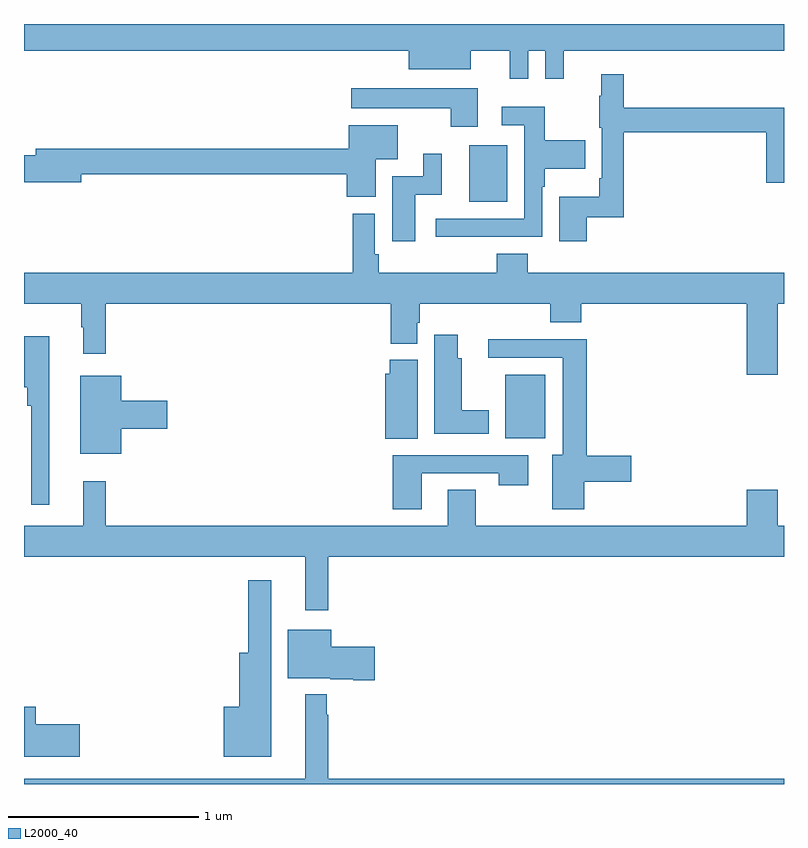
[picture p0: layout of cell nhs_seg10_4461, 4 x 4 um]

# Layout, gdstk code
import gdstk
lib = gdstk.Library(unit=1e-6, precision=1e-09)
def R(c, l, rs):  # rectangles x0, y0, x1, y1
    for r in rs: c.add(gdstk.rectangle(r[:2], r[2:], *l))
def P(c, l, *ps):  # polygons
    for p in ps: c.add(gdstk.Polygon(p, *l))
L2000_40 = (2000, 40)

nhs_seg10_4461 = lib.new_cell('nhs_seg10_4461')
R(nhs_seg10_4461, L2000_40, [(367.532,1254.32,367.744,1254.655), (367.343,1255.565,367.543,1255.861)])
P(nhs_seg10_4461, L2000_40, [(367.653,1256.36),(367.743,1256.36),(367.743,1256.211),(367.841,1256.211),(367.841,1256.36),(369,1256.36),(369,1256.5),(365,1256.5),(365,1256.36),(367.025,1256.36),(367.025,1256.261),(367.351,1256.261),(367.351,1256.36),(367.556,1256.36),(367.556,1256.211),(367.653,1256.211)],
  [(367.961,1255.482),(368.156,1255.482),(368.156,1255.93),(368.906,1255.93),(368.906,1255.665),(369,1255.665),(369,1256.059),(368.156,1256.059),(368.156,1256.236),(368.039,1256.236),(368.039,1256.123),(368.028,1256.123),(368.028,1255.953),(368.04,1255.953),(368.04,1255.687),(368.028,1255.687),(368.028,1255.591),(367.817,1255.591),(367.817,1255.356),(367.961,1255.356)],
  [(367.387,1256.161),(366.723,1256.161),(366.723,1256.057),(367.247,1256.057),(367.247,1255.959),(367.387,1255.959)],
  [(367.403,1255.38),(367.728,1255.38),(367.728,1255.643),(367.741,1255.643),(367.741,1255.739),(367.955,1255.739),(367.955,1255.887),(367.741,1255.887),(367.741,1256.065),(367.515,1256.065),(367.515,1255.968),(367.632,1255.968),(367.632,1255.476),(367.167,1255.476),(367.167,1255.379),(367.403,1255.379)],
  [(366.85,1255.787),(366.967,1255.787),(366.967,1255.966),(366.71,1255.966),(366.71,1255.844),(365.063,1255.844),(365.063,1255.808),(365,1255.808),(365,1255.666),(365.302,1255.666),(365.302,1255.708),(366.698,1255.708),(366.698,1255.59),(366.85,1255.59)],
  [(367.06,1255.602),(367.198,1255.602),(367.198,1255.816),(367.1,1255.816),(367.1,1255.698),(366.938,1255.698),(366.938,1255.356),(367.06,1255.356)],
  [(368.968,1255.028),(369,1255.028),(369,1255.192),(367.652,1255.192),(367.652,1255.291),(367.487,1255.291),(367.487,1255.192),(366.866,1255.192),(366.866,1255.288),(366.846,1255.288),(366.846,1255.501),(366.73,1255.501),(366.73,1255.192),(365,1255.192),(365,1255.028),(365.301,1255.028),(365.301,1254.905),(365.312,1254.905),(365.312,1254.765),(365.429,1254.765),(365.429,1255.028),(366.929,1255.028),(366.929,1254.817),(367.069,1254.817),(367.069,1254.927),(367.082,1254.927),(367.082,1255.028),(367.769,1255.028),(367.769,1254.929),(367.934,1254.929),(367.934,1255.028),(368.804,1255.028),(368.804,1254.654),(368.968,1254.654)],
  [(367.447,1254.466),(367.303,1254.466),(367.303,1254.741),(367.282,1254.741),(367.282,1254.865),(367.16,1254.865),(367.16,1254.344),(367.447,1254.344)],
  [(365.134,1254.856),(365,1254.856),(365,1254.587),(365.017,1254.587),(365.017,1254.491),(365.037,1254.491),(365.037,1253.97),(365.134,1253.97)],
  [(367.948,1254.092),(368.197,1254.092),(368.197,1254.227),(367.961,1254.227),(367.961,1254.842),(367.443,1254.842),(367.443,1254.744),(367.835,1254.744),(367.835,1254.232),(367.781,1254.232),(367.781,1253.946),(367.948,1253.946)],
  [(367.072,1254.732),(366.926,1254.732),(366.926,1254.66),(366.902,1254.66),(366.902,1254.316),(367.072,1254.316)],
  [(365.512,1254.371),(365.755,1254.371),(365.755,1254.518),(365.512,1254.518),(365.512,1254.649),(365.297,1254.649),(365.297,1254.239),(365.512,1254.239)],
  [(367.093,1254.135),(367.498,1254.135),(367.498,1254.072),(367.654,1254.072),(367.654,1254.231),(366.941,1254.231),(366.941,1253.946),(367.093,1253.946)],
  [(366.601,1253.696),(369,1253.696),(369,1253.86),(368.968,1253.86),(368.968,1254.049),(368.804,1254.049),(368.804,1253.86),(367.377,1253.86),(367.377,1254.05),(367.229,1254.05),(367.229,1253.86),(365.429,1253.86),(365.429,1254.094),(365.312,1254.094),(365.312,1253.86),(365,1253.86),(365,1253.696),(366.479,1253.696),(366.479,1253.415),(366.601,1253.415)],
  [(366.301,1253.572),(366.18,1253.572),(366.18,1253.191),(366.134,1253.191),(366.134,1252.906),(366.05,1252.906),(366.05,1252.643),(366.301,1252.643)],
  [(366.847,1253.223),(366.616,1253.223),(366.616,1253.311),(366.389,1253.311),(366.389,1253.057),(366.612,1253.057),(366.612,1253.051),(366.734,1253.051),(366.734,1253.045),(366.847,1253.045)],
  [(369,1252.528),(366.601,1252.528),(366.601,1252.865),(366.593,1252.865),(366.593,1252.972),(366.479,1252.972),(366.479,1252.528),(365,1252.528),(365,1252.5),(369,1252.5)],
  [(365.293,1252.814),(365.062,1252.814),(365.062,1252.906),(365,1252.906),(365,1252.643),(365.293,1252.643)])

lib.write_gds('nhs_seg10_4461.gds')
